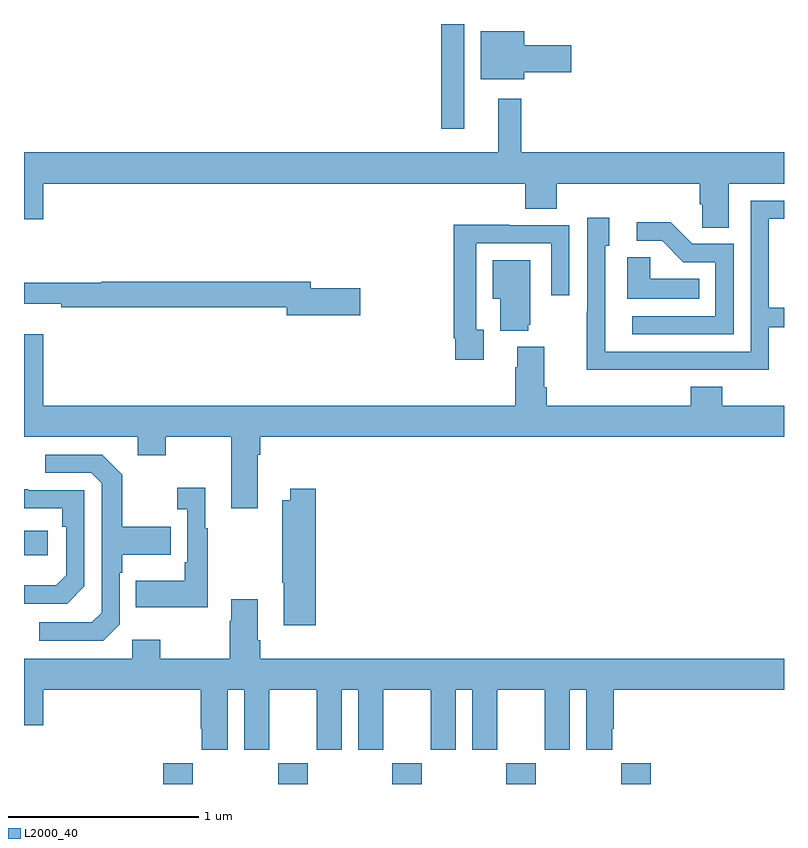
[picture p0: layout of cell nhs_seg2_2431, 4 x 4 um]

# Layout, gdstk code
import gdstk
lib = gdstk.Library(unit=1e-6, precision=1e-09)
def R(c, l, rs):  # rectangles x0, y0, x1, y1
    for r in rs: c.add(gdstk.rectangle(r[:2], r[2:], *l))
def A(c, l, x, y, w, h, nx, ny, dx, dy):  # array of equal rectangles
    R(c, l, [(x+i*dx, y+j*dy, x+i*dx+w, y+j*dy+h) for i in range(nx) for j in range(ny)])
def P(c, l, *ps):  # polygons
    for p in ps: c.add(gdstk.Polygon(p, *l))
L2000_40 = (2000, 40)

nhs_seg2_2431 = lib.new_cell('nhs_seg2_2431')
A(nhs_seg2_2431, L2000_40, 238.339, 653.8, 0.155, 0.108, 3, 1, 0.6, 0)
R(nhs_seg2_2431, L2000_40, [(237.734,653.8,237.889,653.908), (240.143,653.8,240.299,653.908), (237,655.004,237.124,655.134), (239.196,657.249,239.317,657.8)])
P(nhs_seg2_2431, L2000_40, [(239.632,657.547),(239.881,657.547),(239.881,657.689),(239.632,657.689),(239.632,657.763),(239.405,657.763),(239.405,657.509),(239.632,657.509)],
  [(240.709,656.96),(241,656.96),(241,657.124),(239.617,657.124),(239.617,657.406),(239.495,657.406),(239.495,657.124),(237,657.124),(237,656.772),(237.1,656.772),(237.1,656.96),(239.639,656.96),(239.639,656.827),(239.804,656.827),(239.804,656.96),(240.557,656.96),(240.557,656.851),(240.57,656.851),(240.57,656.728),(240.709,656.728)],
  [(240.425,655.98),(240.921,655.98),(240.921,656.205),(241,656.205),(241,656.306),(240.921,656.306),(240.921,656.775),(241,656.775),(241,656.871),(240.825,656.871),(240.825,656.076),(240.06,656.076),(240.06,656.634),(240.079,656.634),(240.079,656.779),(239.964,656.779),(239.964,656.285),(239.962,656.285),(239.962,655.979),(240.425,655.979)],
  [(240.735,656.643),(240.516,656.643),(240.403,656.756),(240.225,656.756),(240.225,656.658),(240.359,656.658),(240.47,656.547),(240.639,656.547),(240.639,656.262),(240.201,656.262),(240.201,656.166),(240.735,656.166)],
  [(239.419,656.19),(239.379,656.19),(239.379,656.646),(239.775,656.646),(239.775,656.373),(239.871,656.373),(239.871,656.742),(239.555,656.742),(239.555,656.744),(239.263,656.744),(239.263,656.146),(239.271,656.146),(239.271,656.034),(239.419,656.034)],
  [(240.554,656.458),(240.297,656.458),(240.297,656.573),(240.176,656.573),(240.176,656.354),(240.554,656.354)],
  [(239.654,656.217),(239.665,656.217),(239.665,656.557),(239.468,656.557),(239.468,656.354),(239.507,656.354),(239.507,656.186),(239.654,656.186)],
  [(238.771,656.408),(238.51,656.408),(238.51,656.444),(237.406,656.444),(237.406,656.437),(237,656.437),(237,656.327),(237.196,656.327),(237.196,656.308),(238.382,656.308),(238.382,656.266),(238.771,656.266)],
  [(238.231,655.532),(238.244,655.532),(238.244,655.628),(241,655.628),(241,655.792),(240.674,655.792),(240.674,655.891),(240.509,655.891),(240.509,655.792),(239.75,655.792),(239.75,655.888),(239.737,655.888),(239.737,656.101),(239.597,656.101),(239.597,655.994),(239.585,655.994),(239.585,655.792),(237.1,655.792),(237.1,656.167),(237,656.167),(237,655.628),(237.599,655.628),(237.599,655.529),(237.747,655.529),(237.747,655.628),(238.091,655.628),(238.091,655.251),(238.231,655.251)],
  [(237.504,654.642),(237.504,654.911),(237.517,654.911),(237.517,655.007),(237.773,655.007),(237.773,655.155),(237.517,655.155),(237.517,655.427),(237.411,655.533),(237.111,655.533),(237.111,655.437),(237.354,655.437),(237.408,655.383),(237.408,654.702),(237.357,654.651),(237.081,654.651),(237.081,654.555),(237.417,654.555)],
  [(237.967,655.147),(237.955,655.147),(237.955,655.36),(237.807,655.36),(237.807,655.247),(237.858,655.247),(237.858,654.967),(237.846,654.967),(237.846,654.871),(237.589,654.871),(237.589,654.731),(237.967,654.731)],
  [(238.535,655.354),(238.4,655.354),(238.4,655.294),(238.36,655.294),(238.36,654.859),(238.367,654.859),(238.367,654.636),(238.535,654.636)],
  [(237.318,654.84),(237.318,655.347),(237.023,655.347),(237.023,655.352),(237,655.352),(237,655.251),(237.202,655.251),(237.202,655.154),(237.222,655.154),(237.222,654.9),(237.169,654.847),(237,654.847),(237,654.75),(237.228,654.75)],
  [(238.244,654.556),(238.231,654.556),(238.231,654.772),(238.091,654.772),(238.091,654.659),(238.084,654.659),(238.084,654.46),(237.717,654.46),(237.717,654.559),(237.57,654.559),(237.57,654.46),(237,654.46),(237,654.108),(237.1,654.108),(237.1,654.296),(237.929,654.296),(237.929,654.091),(237.935,654.091),(237.935,653.979),(238.072,653.979),(238.072,654.296),(238.16,654.296),(238.16,653.979),(238.291,653.979),(238.291,654.296),(238.541,654.296),(238.541,653.979),(238.672,653.979),(238.672,654.296),(238.76,654.296),(238.76,653.979),(238.891,653.979),(238.891,654.296),(239.141,654.296),(239.141,653.979),(239.272,653.979),(239.272,654.296),(239.36,654.296),(239.36,653.979),(239.491,653.979),(239.491,654.296),(239.741,654.296),(239.741,653.979),(239.872,653.979),(239.872,654.296),(239.96,654.296),(239.96,653.979),(240.097,653.979),(240.097,654.091),(240.104,654.091),(240.104,654.296),(241,654.296),(241,654.46),(238.244,654.46)])

lib.write_gds('nhs_seg2_2431.gds')
